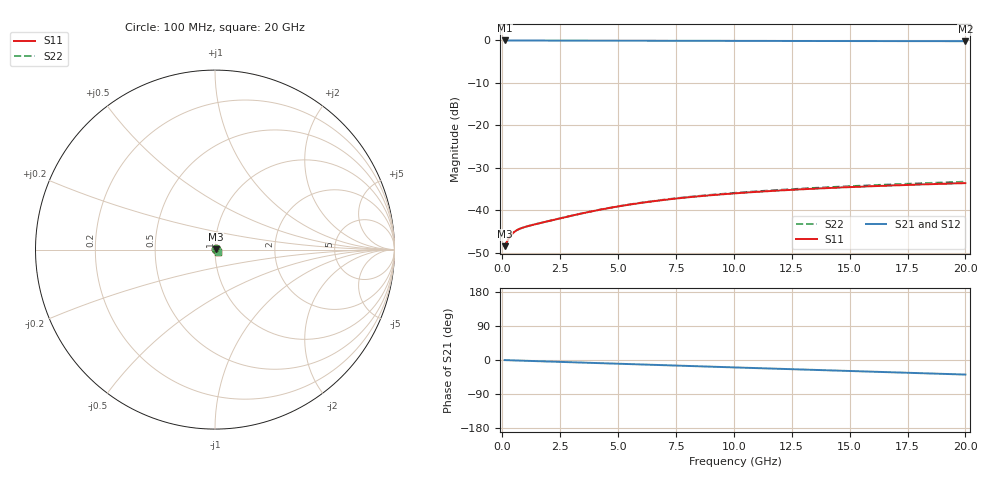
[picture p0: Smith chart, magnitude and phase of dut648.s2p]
! Touchstone file exported from HFSS 2026.1.0
!  File:  C:/ffzhzh/LocalFiles/Ansys_Project_Files/temp_train_TMRDL_648_1783009504_51716.aedt
!  Generated:  12:26:22 AM Jul  3, 2026
!  Design:  TMRDL
!  Project:  temp_train_TMRDL_648_1783009504_51716
! Variables:
!  h_bsmrdl = 2um
!  h_ox = 20um
!  h_rdl = 5um
!  h_sub = 80um
!  h_tmrdl = 3.83um
!  h_tsv = 80um
!  h_via = 3um
!  l_bsmrdl = 300um
!  l_sub = 1092.05um
!  l_tmrdl = 692.05um
!  m_sub = 200um
!  pitch = 22.29um
!  r_tsv = 6um
!  s_tmrdl = 10um
!  w_bsmrdl = 18um
!  w_sub = 500um
!  w_tmrdl = 18.39um
!  x_tsv_center1 = 701.245um
!  x_tsv_center2 = 1019.245um
!  x_tsv_center3 = 1729.685um
!  x_tsv_center4 = 2047.685um
!  x_tsv_center5 = 2758.125um
!  x_tsv_center6 = 3076.125um
# GHz S MA R 50.000000
! Terminal data exported
! Port[1] = TM_RDL1_1_T1
! Port[2] = TM_RDL1_1_T2
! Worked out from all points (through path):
!   200 points, 100 MHz to 20 GHz, reference 50 ohm
!   highest |S21| = -0.03 dB at 100 MHz (marker M1); lowest = -0.2 dB at 20 GHz (marker M2)
!   group delay of S21, straight-line fit = 5.31 ps
!   lowest |S11| = -48.4 dB at 100 MHz (marker M3), VSWR 1.01, Z = 50.4 + j0.073 ohm
!   |S11| at or under -10 dB: start of sweep to end of sweep
!   |S22| runs from -48.4 to -33.3 dB; largest |S21 - S12| = 2.7e-15
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0.1  0.003785 11.0  0.9963 -0.2  0.9963 -0.2  0.003785 11.0
! Gamma 0 0 0 0
! Port Impedance 50 0 50 0
0.2  0.004275 17.3  0.9959 -0.5  0.9959 -0.5  0.004274 17.4
0.3  0.004783 19.7  0.9955 -0.7  0.9955 -0.7  0.004783 19.7
0.4  0.005203 20.1  0.9951 -0.9  0.9951 -0.9  0.005204 20.1
0.5  0.005526 19.9  0.9948 -1.1  0.9948 -1.1  0.005528 19.9
0.6  0.005775 19.5  0.9946 -1.3  0.9946 -1.3  0.005778 19.5
0.7  0.005971 19.2  0.9944 -1.5  0.9944 -1.5  0.005975 19.2
0.8  0.006133 19.1  0.9943 -1.7  0.9943 -1.7  0.006137 19.1
1  0.006396 19.0  0.994 -2.1  0.994 -2.1  0.006401 19.0
1.4  0.00683 19.6  0.9937 -2.8  0.9937 -2.8  0.006838 19.6
2.7  0.008283 22.0  0.9926 -5.4  0.9926 -5.4  0.008299 21.9
3.5  0.009268 21.7  0.9918 -7.0  0.9918 -7.0  0.009293 21.6
4.3  0.01026 20.4  0.991 -8.6  0.991 -8.6  0.0103 20.2
5.1  0.01122 18.2  0.99 -10.1  0.99 -10.1  0.01127 18.0
5.9  0.01213 15.5  0.9891 -11.7  0.9891 -11.7  0.0122 15.3
6.8  0.01307 12.1  0.988 -13.4  0.988 -13.4  0.01316 11.8
8.3  0.01446 6.0  0.9863 -16.3  0.9863 -16.3  0.0146 5.7
10.1  0.01587 -1.5  0.9845 -19.7  0.9845 -19.7  0.01608 -1.9
11.7  0.01694 -8.1  0.983 -22.7  0.983 -22.7  0.01722 -8.5
13.4  0.01792 -14.9  0.9816 -26.0  0.9816 -26.0  0.01829 -15.3
16.7  0.01954 -27.5  0.9791 -32.2  0.9791 -32.2  0.02011 -27.9
20  0.02089 -39.4  0.9769 -38.4  0.9769 -38.4  0.02169 -39.7
